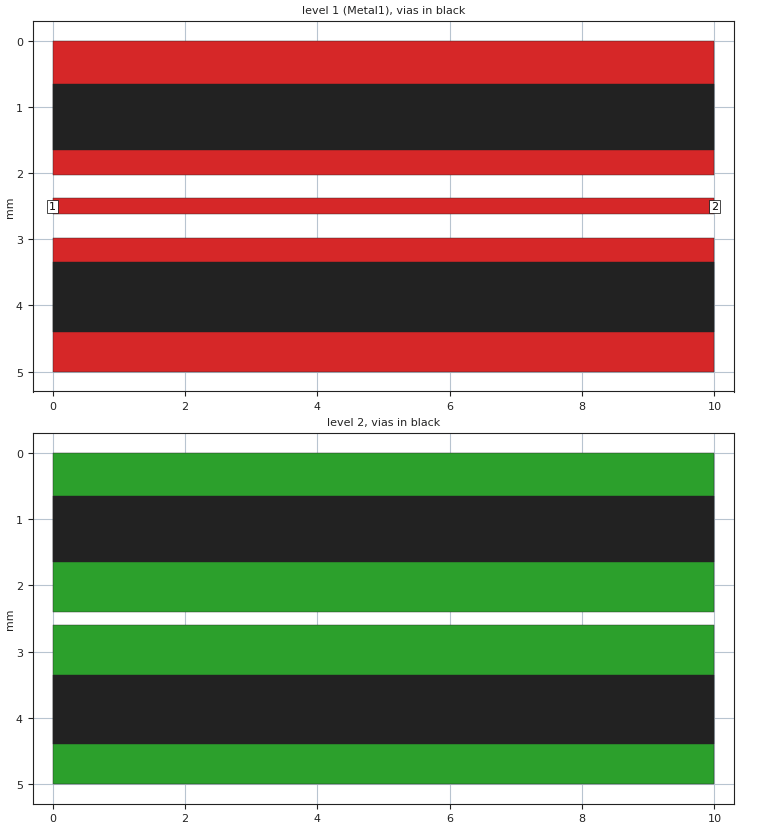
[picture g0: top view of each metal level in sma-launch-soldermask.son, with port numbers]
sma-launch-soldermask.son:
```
FTYP SONPROJ 18 ! Sonnet Project File
VER 17.56
HEADER
LIC antikernel2.1.48685 3cfdfeabd719 havequick azonenberg Level2Basic
DAT 11/23/2020 07:09:00
BUILT_BY_CREATED xgeom 16.56 07/03/2018 15:05:41
BUILT_BY_SAVED sonnet 17.56
MDATE 11/23/2020 07:09:00
HDATE 11/23/2020 07:09:00
END HEADER
DIM
ANG DEG
CAP PF
CON /OH
FREQ GHZ
IND NH
LNG MM
RES OH
END DIM
CONTROL
VARSWP
OPTIONS  -dj
SPEED 1
CACHE_ABS 1
Q_ACC N
END CONTROL
GEO
SYM
TMET "Free Space" 0 FREESPACE 376.7303136 0 0 0
BMET "Copper 1oz thin" 1 NOR 58000000 0.5 0.035 
MET "Silver" 1 TMM 61700000 0.5 0.035 3
MET "Copper 1oz thick" 2 TMM 58000000 0.5 0.035 3
MET "Copper 1oz thin" 1 NOR 58000000 0.5 0.035 
BOX 2 10 5 160 800 20 0
      1 1 1 0 0 0 0 "Air"
      0.04 3.4 1 0.025 0 0 0 "Soldermask"
      0.102 3.2 1 0.002 0 0 0 "Panasonic F775"
TECHLAY METAL Metal1 <UNSPECIFIED> -2 0 
1 0 1 N 957 1 1 100 100 0 0 0 Y
END
END
DIM STD YDIR -1
POS -0.3256573327 -1.084628238
NOM 0.25
REF1 POLY 974 1
3
REF2 POLY 974 1
0
END
DIM STD YDIR -1
POS -0.04296321145 -0.7611463874
NOM 0.35
REF1 POLY 974 1
0
REF2 POLY 969 1
3
END
DIM STD YDIR -1
POS -0.2098150988 -0.4209235475
NOM 0.35
REF1 POLY 970 1
0
REF2 POLY 974 1
3
END
DIM STD YDIR -1
POS -0.1736932072 -0.03539736295
NOM 0.2
REF1 POLY 975 1
1
REF2 POLY 972 1
2
END
DIM STD YDIR -1
POS -0.6216729103 -0.7267988639
NOM 0.95
REF1 POLY 970 1
0
REF2 POLY 969 1
3
END
LORGN 0 250 U 
POR1 BOX
POLY 974 1
3
1 50 0 0 0 0 2.5 
POR1 BOX
POLY 974 1
1
2 50 0 0 0 10 2.5 
NUM 7
1 5 1 N 969 1 1 100 100 0 0 0 Y
TLAYNAM Metal1 INH
0 0
10 0
10 2.025
0 2.025
0 0
END
1 5 1 N 970 1 1 100 100 0 0 0 Y
TLAYNAM Metal1 INH
0 2.975
10 2.975
10 5
0 5
0 2.975
END
1 5 1 N 974 1 1 100 100 0 0 0 Y
TLAYNAM Metal1 INH
0 2.375
10 2.375
10 2.625
0 2.625
0 2.375
END
VIA POLYGON
1 5 -1 N 971 1 1 100 100 0 0 0 Y
TOLEVEL 2 RING NOCOVERS
0 3.35
10 3.35
10 4.4
0 4.4
0 3.35
END
VIA POLYGON
1 5 -1 N 973 1 1 100 100 0 0 0 Y
TOLEVEL 2 RING NOCOVERS
0 0.65
10 0.65
10 1.65
0 1.65
0 0.65
END
2 5 2 N 972 1 1 100 100 0 0 0 Y
10 0
0 0
0 2.4
10 2.4
10 0
END
2 5 2 N 975 1 1 100 100 0 0 0 Y
10 2.6
0 2.6
0 5
10 5
10 2.6
END
END GEO
OPT
MAX 100
END OPT
VARSWP
ENABLED Y
FREQ Y AY ABS_ENTRY 0.1 6.0 -1 300 
END
END VARSWP
FILEOUT
FOLDER .
END FILEOUT
```
